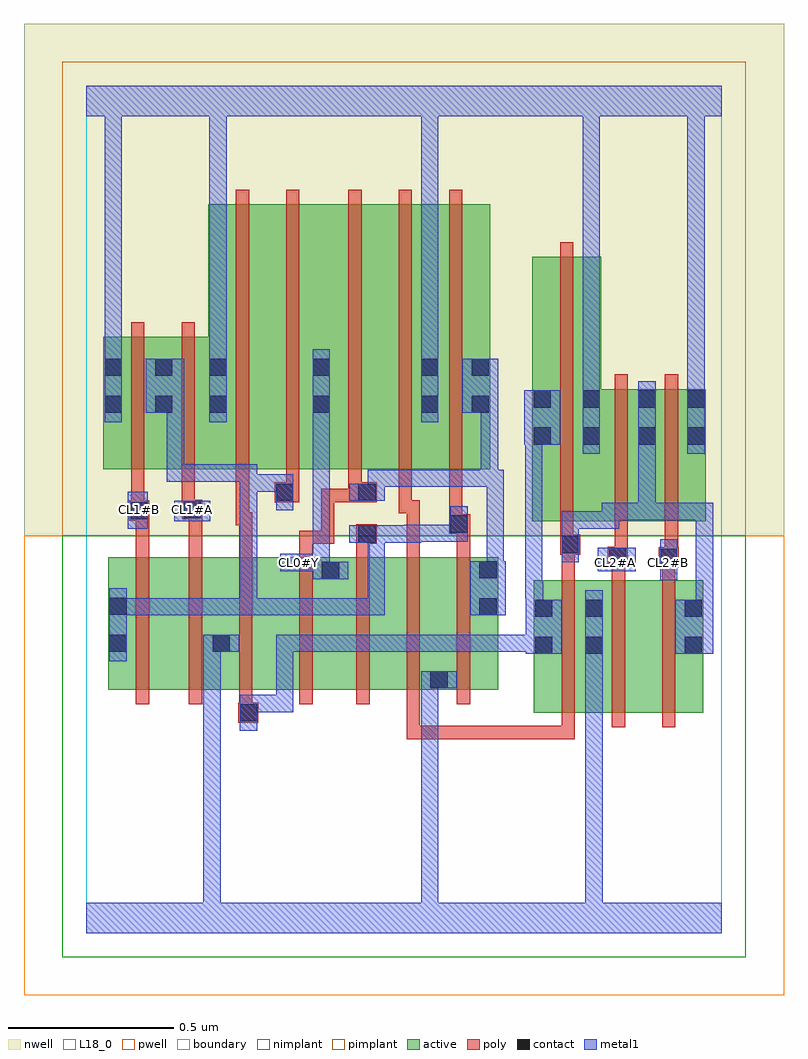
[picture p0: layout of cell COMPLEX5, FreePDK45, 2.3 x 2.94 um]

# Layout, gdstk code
import gdstk
lib = gdstk.Library(unit=1e-6, precision=1e-09)
def R(c, l, rs):  # rectangles x0, y0, x1, y1
    for r in rs: c.add(gdstk.rectangle(r[:2], r[2:], *l))
def A(c, l, x, y, w, h, nx, ny, dx, dy):  # array of equal rectangles
    R(c, l, [(x+i*dx, y+j*dy, x+i*dx+w, y+j*dy+h) for i in range(nx) for j in range(ny)])
active = (1, 0)
pwell = (2, 0)
nwell = (3, 0)
nimplant = (4, 0)
pimplant = (5, 0)
poly = (9, 0)
contact = (10, 0)
metal1 = (11, 0)
L18_0 = (18, 0)
boundary = (235, 0)

complex5 = lib.new_cell('COMPLEX5')
R(complex5, active, [(1.352,0.666,1.564,1.066), (1.504,0.666,1.684,1.066), (1.684,0.666,1.864,1.066), (0.066,0.736,0.246,1.136), (0.246,0.736,0.438,1.136), (0.378,0.736,0.574,1.136), (0.574,0.736,0.768,1.136), (0.708,0.736,0.912,1.136), (0.912,0.736,1.096,1.136), (1.036,0.736,1.244,1.136), (1.036,0.736,1.096,0.796), (0.066,0.756,0.126,1.136), (0.378,0.756,0.438,0.906), (0.708,0.756,0.768,1.126), (1.184,0.756,1.244,1.136), (1.352,0.756,1.412,1.066), (1.504,0.756,1.564,1.012), (1.804,0.756,1.864,1.066), (1.348,1.244,1.556,2.044), (1.348,1.244,1.408,2.044), (1.496,1.244,1.556,1.644), (1.496,1.244,1.724,1.644), (1.664,1.244,1.872,1.644), (1.664,1.244,1.724,1.644), (1.812,1.244,1.872,1.644), (0.052,1.402,0.264,1.802), (0.052,1.402,0.112,1.802), (0.204,1.402,0.264,1.802), (0.204,1.402,0.428,1.802), (0.368,1.402,0.548,2.202), (0.548,1.402,0.74,2.202), (0.68,1.402,0.888,2.202), (0.888,1.402,1.068,2.202), (1.008,1.402,1.22,2.202), (1.16,1.402,1.22,2.044), (0.68,1.42,0.74,2.044), (1.008,1.476,1.068,2.044), (0.368,1.568,0.428,1.824)])
R(complex5, pwell, [(-0.188,-0.188,2.108,1.2)])
R(complex5, nwell, [(-0.188,1.2,2.108,2.748)])
R(complex5, nimplant, [(-0.072,-0.072,1.992,1.2)])
R(complex5, pimplant, [(-0.072,1.2,1.992,2.632)])
A(complex5, poly, 1.436, 0.622, 0.04, 0.488, 3, 1, 0.152, 0)
A(complex5, poly, 0.816, 0.692, 0.04, 0.488, 3, 1, 0.152, 0)
A(complex5, poly, 0.792, 1.358, 0.04, 0.888, 3, 1, 0.152, 0)
R(complex5, poly, [(0.968,0.586,1.008,0.732), (0.968,0.586,1.01,0.626), (0.97,0.586,1.01,0.626), (0.97,0.586,1.01,0.626), (0.97,0.586,1.116,0.626), (1.076,0.586,1.116,0.626), (1.076,0.586,1.116,0.626), (1.076,0.586,1.116,0.626), (1.076,0.586,1.476,0.626), (1.436,0.586,1.476,0.626), (1.436,0.586,1.476,0.626), (1.436,0.586,1.476,0.626), (1.436,0.586,1.476,0.662), (0.46,0.636,0.52,0.696), (0.462,0.656,0.502,0.732), (0.15,0.692,0.19,1.18), (0.31,0.692,0.35,1.18), (0.462,0.692,0.502,1.18), (0.644,0.692,0.684,1.18), (1.436,1.07,1.476,1.184), (1.588,1.07,1.628,1.148), (1.74,1.07,1.78,1.146), (1.73,1.106,1.79,1.166), (1.576,1.108,1.636,1.168), (1.748,1.126,1.788,1.24), (1.748,1.126,1.788,1.166), (1.748,1.126,1.788,1.166), (1.596,1.128,1.636,1.168), (1.596,1.128,1.636,1.168), (1.596,1.128,1.636,1.24), (0.15,1.14,0.19,1.286), (0.31,1.14,0.35,1.29), (0.462,1.14,0.502,1.272), (0.644,1.14,0.684,1.216), (0.816,1.14,0.856,1.216), (0.968,1.14,1.008,1.308), (1.12,1.14,1.16,1.246), (1.432,1.144,1.492,1.204), (1.436,1.144,1.476,1.184), (1.436,1.144,1.476,1.184), (1.432,1.164,1.472,1.24), (0.644,1.176,0.684,1.216), (0.644,1.176,0.75,1.216), (0.71,1.176,0.75,1.216), (0.71,1.176,0.75,1.342), (0.816,1.176,0.878,1.236), (1.432,1.2,1.472,2.088), (1.596,1.2,1.636,1.688), (1.748,1.2,1.788,1.688), (1.096,1.206,1.16,1.266), (1.096,1.226,1.136,1.266), (1.096,1.226,1.136,1.266), (1.096,1.226,1.136,1.398), (0.452,1.232,0.492,1.398), (0.452,1.232,0.502,1.272), (0.462,1.232,0.502,1.272), (0.462,1.232,0.502,1.272), (0.13,1.246,0.19,1.306), (0.15,1.246,0.19,1.286), (0.15,1.246,0.19,1.286), (0.29,1.25,0.35,1.31), (0.136,1.266,0.176,1.398), (0.944,1.268,0.984,1.308), (0.944,1.268,0.984,1.308), (0.944,1.268,0.984,1.398), (0.944,1.268,1.008,1.308), (0.288,1.27,0.33,1.31), (0.288,1.27,0.328,1.398), (0.29,1.27,0.33,1.31), (0.57,1.302,0.644,1.362), (0.71,1.302,0.75,1.342), (0.71,1.302,0.832,1.342), (0.792,1.302,0.878,1.362), (0.604,1.322,0.644,1.398), (0.792,1.322,0.832,1.398), (0.136,1.358,0.176,1.846), (0.288,1.358,0.328,1.846), (0.452,1.358,0.492,2.246), (0.604,1.358,0.644,2.246)])
R(complex5, contact, [(0.464,0.64,0.516,0.692), (1.04,0.74,1.092,0.792), (1.356,0.844,1.408,0.896), (1.508,0.844,1.56,0.896), (1.808,0.844,1.86,0.896), (0.07,0.85,0.122,0.902), (0.382,0.85,0.434,0.902), (1.356,0.956,1.408,1.008), (1.508,0.956,1.56,1.008), (1.808,0.956,1.86,1.008), (1.188,0.96,1.24,1.012), (0.07,0.962,0.122,1.014), (0.712,1.07,0.764,1.122), (1.188,1.072,1.24,1.124), (1.734,1.11,1.786,1.162), (1.58,1.112,1.632,1.164), (1.436,1.148,1.488,1.2), (0.822,1.18,0.874,1.232), (1.1,1.21,1.152,1.262), (0.134,1.25,0.186,1.302), (0.294,1.254,0.346,1.306), (0.574,1.306,0.626,1.358), (0.822,1.306,0.874,1.358), (1.352,1.476,1.404,1.528), (1.5,1.476,1.552,1.528), (1.668,1.476,1.72,1.528), (1.816,1.476,1.868,1.528), (0.056,1.572,0.108,1.624), (0.208,1.572,0.26,1.624), (0.372,1.572,0.424,1.624), (0.684,1.572,0.736,1.624), (1.012,1.572,1.064,1.624), (1.164,1.572,1.216,1.624), (1.352,1.588,1.404,1.64), (1.5,1.588,1.552,1.64), (1.668,1.588,1.72,1.64), (1.816,1.588,1.868,1.64), (0.056,1.684,0.108,1.736), (0.208,1.684,0.26,1.736), (0.372,1.684,0.424,1.736), (0.684,1.684,0.736,1.736), (1.012,1.684,1.064,1.736), (1.164,1.684,1.216,1.736)])
A(complex5, metal1, 0.244, 0.96, 0.052, 0.052, 3, 2, 0.11, 0.404)
A(complex5, metal1, 0.244, 0.96, 0.162, 0.052, 3, 1, 0.11, 0)
R(complex5, metal1, [(0,0,1.92,0.092), (0.354,0.04,0.406,0.092), (0.354,0.04,0.406,0.092), (0.354,0.04,0.406,0.092), (0.354,0.04,0.406,0.092), (0.354,0.04,0.406,0.092), (0.354,0.04,0.406,0.092), (0.354,0.04,0.406,0.092), (0.354,0.04,0.406,0.092), (0.354,0.04,0.406,0.902), (1.012,0.04,1.064,0.23), (1.508,0.04,1.56,0.092), (1.508,0.04,1.56,0.092), (1.508,0.04,1.56,0.092), (1.508,0.04,1.56,0.092), (1.508,0.04,1.56,0.092), (1.508,0.04,1.56,0.092), (1.508,0.04,1.56,0.092), (1.508,0.04,1.56,0.092), (1.508,0.04,1.56,0.092), (1.508,0.04,1.56,0.092), (1.508,0.04,1.56,0.868), (1.012,0.178,1.064,0.23), (1.012,0.178,1.064,0.23), (1.012,0.178,1.064,0.23), (1.012,0.178,1.064,0.23), (1.012,0.178,1.064,0.23), (1.012,0.178,1.064,0.23), (1.012,0.178,1.064,0.23), (1.012,0.178,1.064,0.23), (1.012,0.178,1.064,0.23), (1.012,0.178,1.064,0.23), (1.012,0.178,1.064,0.23), (1.012,0.178,1.064,0.792), (0.464,0.612,0.516,0.72), (0.464,0.668,0.516,0.72), (0.464,0.668,0.516,0.72), (0.464,0.668,0.626,0.72), (0.574,0.668,0.626,0.72), (0.574,0.668,0.626,0.72), (0.574,0.668,0.626,0.72), (0.574,0.668,0.626,0.72), (0.574,0.668,0.626,0.72), (0.574,0.668,0.626,0.902), (1.012,0.74,1.12,0.792), (1.508,0.816,1.56,0.868), (1.508,0.816,1.56,0.868), (1.508,0.816,1.56,1.036), (0.07,0.822,0.122,1.042), (1.328,0.844,1.436,1.008), (1.78,0.844,1.894,1.008), (0.354,0.85,0.406,0.902), (0.354,0.85,0.406,0.902), (0.354,0.85,0.406,0.902), (0.354,0.85,0.406,0.902), (0.354,0.85,0.462,0.902), (0.574,0.85,0.626,0.902), (0.574,0.85,0.902,0.902), (0.85,0.85,0.902,0.902), (0.85,0.85,0.902,0.902), (0.85,0.85,0.902,0.902), (0.85,0.85,1.012,0.902), (0.96,0.85,1.012,0.902), (0.96,0.85,1.012,0.902), (0.96,0.85,1.012,0.902), (0.96,0.85,1.152,0.902), (1.1,0.85,1.152,0.902), (1.1,0.85,1.152,0.902), (1.1,0.85,1.152,0.902), (1.1,0.85,1.38,0.902), (1.328,0.956,1.38,1.062), (1.842,0.956,1.894,1.008), (1.842,0.956,1.894,1.008), (1.842,0.956,1.894,1.3), (0.07,0.96,0.122,1.012), (0.07,0.96,0.122,1.012), (0.07,0.96,0.296,1.012), (0.244,0.96,0.296,1.012), (0.244,0.96,0.296,1.012), (0.464,0.96,0.516,1.012), (0.464,0.96,0.516,1.012), (0.464,0.96,0.516,1.012), (0.464,0.96,0.516,1.012), (0.464,0.96,0.516,1.012), (0.464,0.96,0.516,1.012), (0.464,0.96,0.516,1.386), (0.574,0.96,0.626,1.012), (0.574,0.96,0.626,1.012), (0.574,0.96,0.626,1.012), (0.574,0.96,0.902,1.012), (0.85,0.96,0.902,1.012), (0.85,0.96,0.902,1.012), (0.85,0.96,0.902,1.012), (0.85,0.96,0.902,1.012), (0.85,0.96,0.902,1.012), (0.85,0.96,0.902,1.232), (1.16,0.96,1.268,1.124), (1.326,1.01,1.378,1.062), (1.326,1.01,1.378,1.062), (1.326,1.01,1.378,1.062), (1.326,1.01,1.378,1.062), (1.326,1.01,1.378,1.062), (1.326,1.01,1.378,1.062), (1.326,1.01,1.378,1.528), (1.326,1.01,1.38,1.062), (1.734,1.066,1.786,1.19), (0.684,1.07,0.792,1.122), (0.684,1.07,0.736,1.146), (1.21,1.072,1.262,1.124), (1.21,1.072,1.262,1.124), (1.21,1.072,1.262,1.4), (0.586,1.094,0.736,1.146), (0.684,1.094,0.736,1.596), (1.546,1.094,1.66,1.164), (1.436,1.12,1.488,1.274), (0.794,1.18,0.902,1.232), (0.85,1.18,0.902,1.232), (0.85,1.18,0.902,1.232), (0.85,1.18,1.012,1.232), (0.96,1.18,1.012,1.232), (0.96,1.18,1.012,1.232), (0.96,1.18,1.012,1.234), (0.96,1.182,1.152,1.234), (1.1,1.182,1.152,1.29), (0.126,1.222,0.186,1.334), (1.436,1.222,1.61,1.274), (1.558,1.222,1.61,1.274), (1.558,1.222,1.61,1.274), (1.558,1.222,1.61,1.3), (0.266,1.244,0.374,1.306), (1.558,1.248,1.72,1.3), (1.668,1.248,1.72,1.3), (1.668,1.248,1.894,1.3), (1.668,1.248,1.72,1.5), (1.842,1.248,1.894,1.3), (1.842,1.248,1.894,1.3), (1.842,1.248,1.894,1.3), (0.574,1.278,0.626,1.386), (0.794,1.306,0.902,1.358), (0.85,1.306,0.902,1.358), (0.85,1.306,0.902,1.4), (0.464,1.334,0.626,1.386), (0.464,1.334,0.516,1.416), (0.85,1.348,1.042,1.4), (0.99,1.348,1.042,1.4), (0.99,1.348,1.042,1.4), (0.99,1.348,1.042,1.4), (0.99,1.348,1.244,1.4), (1.192,1.348,1.244,1.4), (1.192,1.348,1.244,1.4), (1.192,1.348,1.244,1.624), (1.192,1.348,1.262,1.4), (0.244,1.364,0.296,1.416), (0.244,1.364,0.296,1.416), (0.244,1.364,0.406,1.416), (0.244,1.364,0.296,1.624), (0.354,1.364,0.516,1.416), (0.464,1.364,0.516,1.416), (1.5,1.448,1.552,1.668), (1.668,1.448,1.72,1.668), (1.816,1.448,1.868,1.668), (1.324,1.476,1.432,1.64), (0.056,1.544,0.108,1.764), (0.372,1.544,0.424,1.764), (0.684,1.544,0.736,1.596), (0.684,1.544,0.736,1.596), (0.684,1.544,0.736,1.764), (1.012,1.544,1.064,1.764), (0.18,1.572,0.296,1.736), (1.136,1.572,1.244,1.736), (1.5,1.616,1.552,1.668), (1.5,1.616,1.552,1.668), (1.5,1.616,1.552,2.52), (1.816,1.616,1.868,1.668), (1.816,1.616,1.868,1.668), (1.816,1.616,1.868,2.52), (0.056,1.712,0.108,1.764), (0.056,1.712,0.108,1.764), (0.056,1.712,0.108,1.764), (0.056,1.712,0.108,1.764), (0.056,1.712,0.108,1.764), (0.056,1.712,0.108,1.764), (0.056,1.712,0.108,1.764), (0.056,1.712,0.108,1.764), (0.056,1.712,0.108,1.764), (0.056,1.712,0.108,1.764), (0.056,1.712,0.108,1.764), (0.056,1.712,0.108,1.764), (0.056,1.712,0.108,1.764), (0.056,1.712,0.108,1.764), (0.056,1.712,0.108,1.764), (0.056,1.712,0.108,1.764), (0.056,1.712,0.108,2.52), (0.372,1.712,0.424,2.52), (1.012,1.712,1.064,1.764), (1.012,1.712,1.064,1.764), (1.012,1.712,1.064,1.764), (1.012,1.712,1.064,1.764), (1.012,1.712,1.064,2.52), (0,2.468,1.92,2.56), (0.372,2.468,0.424,2.52), (0.372,2.468,0.424,2.52), (0.372,2.468,0.424,2.52), (0.372,2.468,0.424,2.52), (0.372,2.468,0.424,2.52), (0.372,2.468,0.424,2.52), (0.372,2.468,0.424,2.52), (0.372,2.468,0.424,2.52), (1.012,2.468,1.064,2.52), (1.012,2.468,1.064,2.52), (1.012,2.468,1.064,2.52), (1.012,2.468,1.064,2.52), (1.5,2.468,1.552,2.52), (1.5,2.468,1.552,2.52), (1.5,2.468,1.552,2.52), (1.5,2.468,1.552,2.52), (1.5,2.468,1.552,2.52), (1.5,2.468,1.552,2.52), (1.816,2.468,1.868,2.52), (1.816,2.468,1.868,2.52), (1.816,2.468,1.868,2.52), (1.816,2.468,1.868,2.52), (1.816,2.468,1.868,2.52), (1.816,2.468,1.868,2.52), (1.816,2.468,1.868,2.52), (1.816,2.468,1.868,2.52), (1.816,2.468,1.868,2.52), (1.816,2.468,1.868,2.52), (1.816,2.468,1.868,2.52), (1.816,2.468,1.868,2.52), (1.816,2.468,1.868,2.52), (1.816,2.468,1.868,2.52)])
R(complex5, L18_0, [(0,0,1.92,0.092), (0.354,0.04,0.406,0.092), (0.354,0.04,0.406,0.092), (0.354,0.04,0.406,0.092), (0.354,0.04,0.406,0.092), (0.354,0.04,0.406,0.092), (0.354,0.04,0.406,0.092), (0.354,0.04,0.406,0.092), (0.354,0.04,0.406,0.092), (0.354,0.04,0.406,0.902), (1.012,0.04,1.064,0.23), (1.508,0.04,1.56,0.092), (1.508,0.04,1.56,0.092), (1.508,0.04,1.56,0.092), (1.508,0.04,1.56,0.092), (1.508,0.04,1.56,0.092), (1.508,0.04,1.56,0.092), (1.508,0.04,1.56,0.092), (1.508,0.04,1.56,0.092), (1.508,0.04,1.56,0.092), (1.508,0.04,1.56,0.092), (1.508,0.04,1.56,0.868), (1.012,0.178,1.064,0.23), (1.012,0.178,1.064,0.23), (1.012,0.178,1.064,0.23), (1.012,0.178,1.064,0.23), (1.012,0.178,1.064,0.23), (1.012,0.178,1.064,0.23), (1.012,0.178,1.064,0.23), (1.012,0.178,1.064,0.23), (1.012,0.178,1.064,0.23), (1.012,0.178,1.064,0.23), (1.012,0.178,1.064,0.23), (1.012,0.178,1.064,0.792), (1.012,0.74,1.12,0.792), (1.508,0.816,1.56,1.036), (1.508,0.816,1.56,0.868), (1.508,0.816,1.56,0.868), (0.354,0.85,0.406,0.902), (0.354,0.85,0.406,0.902), (0.354,0.85,0.406,0.902), (0.354,0.85,0.406,0.902), (0.354,0.85,0.462,0.902), (1.734,1.066,1.786,1.19), (0.684,1.07,0.792,1.122), (0.684,1.07,0.736,1.146), (0.586,1.094,0.736,1.146), (0.614,1.094,0.666,1.146), (0.684,1.094,0.736,1.596), (1.546,1.094,1.66,1.164), (1.574,1.094,1.626,1.146), (1.734,1.094,1.786,1.146), (0.126,1.222,0.186,1.334), (0.266,1.244,0.374,1.306), (0.134,1.254,0.186,1.306), (0.294,1.254,0.346,1.306), (1.5,1.448,1.552,1.668), (1.816,1.448,1.868,1.668), (0.056,1.544,0.108,1.764), (0.372,1.544,0.424,1.764), (0.684,1.544,0.736,1.764), (0.684,1.544,0.736,1.596), (0.684,1.544,0.736,1.596), (1.012,1.544,1.064,1.764), (1.5,1.616,1.552,1.668), (1.5,1.616,1.552,1.668), (1.5,1.616,1.552,2.52), (1.816,1.616,1.868,1.668), (1.816,1.616,1.868,1.668), (1.816,1.616,1.868,2.52), (0.056,1.712,0.108,1.764), (0.056,1.712,0.108,1.764), (0.056,1.712,0.108,1.764), (0.056,1.712,0.108,1.764), (0.056,1.712,0.108,1.764), (0.056,1.712,0.108,1.764), (0.056,1.712,0.108,1.764), (0.056,1.712,0.108,1.764), (0.056,1.712,0.108,1.764), (0.056,1.712,0.108,1.764), (0.056,1.712,0.108,1.764), (0.056,1.712,0.108,1.764), (0.056,1.712,0.108,1.764), (0.056,1.712,0.108,1.764), (0.056,1.712,0.108,1.764), (0.056,1.712,0.108,1.764), (0.056,1.712,0.108,2.52), (0.372,1.712,0.424,2.52), (1.012,1.712,1.064,1.764), (1.012,1.712,1.064,1.764), (1.012,1.712,1.064,1.764), (1.012,1.712,1.064,1.764), (1.012,1.712,1.064,2.52), (0,2.468,1.92,2.56), (0.372,2.468,0.424,2.52), (0.372,2.468,0.424,2.52), (0.372,2.468,0.424,2.52), (0.372,2.468,0.424,2.52), (0.372,2.468,0.424,2.52), (0.372,2.468,0.424,2.52), (0.372,2.468,0.424,2.52), (0.372,2.468,0.424,2.52), (1.012,2.468,1.064,2.52), (1.012,2.468,1.064,2.52), (1.012,2.468,1.064,2.52), (1.012,2.468,1.064,2.52), (1.5,2.468,1.552,2.52), (1.5,2.468,1.552,2.52), (1.5,2.468,1.552,2.52), (1.5,2.468,1.552,2.52), (1.5,2.468,1.552,2.52), (1.5,2.468,1.552,2.52), (1.816,2.468,1.868,2.52), (1.816,2.468,1.868,2.52), (1.816,2.468,1.868,2.52), (1.816,2.468,1.868,2.52), (1.816,2.468,1.868,2.52), (1.816,2.468,1.868,2.52), (1.816,2.468,1.868,2.52), (1.816,2.468,1.868,2.52), (1.816,2.468,1.868,2.52), (1.816,2.468,1.868,2.52), (1.816,2.468,1.868,2.52), (1.816,2.468,1.868,2.52), (1.816,2.468,1.868,2.52), (1.816,2.468,1.868,2.52)])
R(complex5, boundary, [(0,0,1.92,2.56)])
complex5.add(gdstk.Label('CL0#Y', (0.64,1.12), layer=11, texttype=0))
complex5.add(gdstk.Label('CL1#A', (0.32,1.28), layer=11, texttype=0))
complex5.add(gdstk.Label('CL1#B', (0.16,1.28), layer=11, texttype=0))
complex5.add(gdstk.Label('CL2#A', (1.6,1.12), layer=11, texttype=0))
complex5.add(gdstk.Label('CL2#B', (1.76,1.12), layer=11, texttype=0))

lib.write_gds('COMPLEX5.gds')
